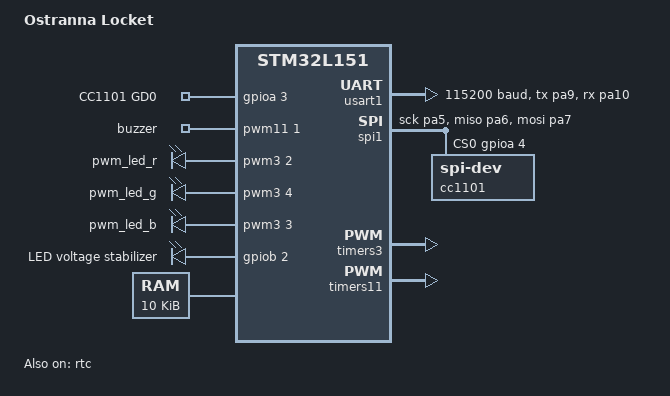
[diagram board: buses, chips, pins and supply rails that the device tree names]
/dts-v1/;
#include <mem.h>
#include <st/l1/stm32l151.dtsi>
#include <st/l1/stm32l151c(6-8-b)tx-pinctrl.dtsi>

/ {
	model = "Ostranna Locket";
	compatible = "st,stm32l151";

	chosen {
		zephyr,console = &usart1;
		zephyr,shell-uart = &usart1;
		zephyr,uart-mcumgr = &usart1;
		zephyr,sram = &sram0;
		zephyr,flash = &flash0;
	};

	gpio_keys {
		compatible = "gpio-keys";
		gdo0: gdo0 {
			gpios = <&gpioa 3 0>;
			label = "CC1101 GD0";
		};
	};

	pwmbuzzer {
		compatible = "pwm-leds";
		buzzer: buzzer {
			pwms = <&pwm11 1 0 PWM_POLARITY_INVERTED>;
		};
	};

	pwmleds {
		// Need power on led_en for being bright
		compatible = "pwm-leds";
		pwm_led_r: pwm_led_r {
			pwms = <&pwm3 2 0 PWM_POLARITY_INVERTED>;
		};

		pwm_led_g: pwm_led_g {
			pwms = <&pwm3 4 0 PWM_POLARITY_INVERTED>;
		};

		pwm_led_b: pwm_led_b {
			pwms = <&pwm3 3 0 PWM_POLARITY_INVERTED>;
		};
	};

	leds {
		compatible = "gpio-leds";
		led_en: led_en {
			gpios = <&gpiob 2 GPIO_ACTIVE_HIGH>;
			label = "LED voltage stabilizer";
		};
	};

	aliases {
		cc1101-spi = &spi1;
		cc1101 = &cc1101;
		cc1101-gdo0 = &gdo0;

		led-r = &pwm_led_r;
		led-g = &pwm_led_g;
		led-b = &pwm_led_b;
		led-en = &led_en;

		eeprom = &eeprom;

		buzzer = &buzzer;
	};

	sram0: memory@20000000 {
		reg = <0x20000000 DT_SIZE_K(10)>;
	};

	soc {
		flash-controller@40023c00 {
			flash0: flash@8000000 {
				reg = <0x08000000 DT_SIZE_K(64)>;
			};
		};

		eeprom: eeprom@8080000{
			reg = <0x08080000 DT_SIZE_K(4)>;
		};
	};
};

&usart1 {
	current-speed = <115200>;
	status = "okay";
	pinctrl-0 = <&usart1_tx_pa9 &usart1_rx_pa10>;
};

&eeprom {
	status = "okay";
};

// CC1101
&spi1 {
	cs-gpios = <&gpioa 4 0>;
	pinctrl-0 = <&spi1_sck_pa5 &spi1_miso_pa6 &spi1_mosi_pa7>;
	status = "okay";
	cc1101: spi-dev@0 {
		reg = <0>;
	};
};

&rtc {
	status = "okay";
};

&rcc {
	status = "okay";
};

&timers3 {
	status = "okay";

	pwm3: pwm {
		status = "okay";
		pinctrl-0 = <&tim3_ch2_pb5 &tim3_ch4_pb1 &tim3_ch3_pb0>;
	};
};

&timers11 {
	status = "okay";

	pwm11: pwm {
		status = "okay";
		pinctrl-0 = <&tim11_ch1_pb15>;
	};
};
